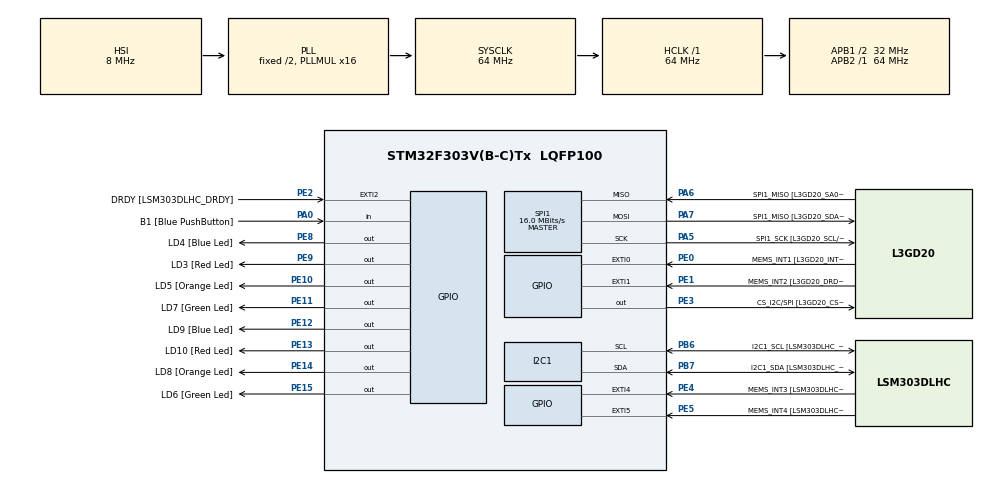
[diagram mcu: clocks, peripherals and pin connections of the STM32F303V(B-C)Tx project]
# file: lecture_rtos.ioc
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FREERTOS.Tasks01=defaultTask,0,128,StartDefaultTask,Default,NULL
FREERTOS.configTOTAL_HEAP_SIZE=15360
FREERTOS.configUSE_PREEMPTION=1
I2C1.Timing-I2C=0x2000090E
Mcu.Family=STM32F3
Mcu.Name=STM32F303V(B-C)Tx
Mcu.Package=LQFP100
NVIC.PriorityGroup=NVIC_PRIORITYGROUP_4
NVIC.TIM1_TRG_COM_TIM17_IRQn=true\:0\:0\:false\:false\:true\:false\:false
NVIC.TimeBase=TIM1_TRG_COM_TIM17_IRQn
NVIC.TimeBaseIP=TIM17
PA0.GPIO_Label=B1 [Blue PushButton]
PA0.Signal=GPIO_Input
PA11.GPIO_Label=DM
PA11.Signal=USB_DM
PA12.GPIO_Label=DP
PA12.Signal=USB_DP
PA13.GPIO_Label=SWDIO
PA13.Mode=Serial_Wire
PA13.Signal=SYS_JTMS-SWDIO
PA14.GPIO_Label=SWCLK
PA14.Mode=Serial_Wire
PA14.Signal=SYS_JTCK-SWCLK
PA5.GPIO_Label=SPI1_SCK [L3GD20_SCL/SPC]
PA5.Mode=Full_Duplex_Master
PA5.Signal=SPI1_SCK
PA6.GPIO_Label=SPI1_MISO [L3GD20_SA0/SDO]
PA6.Mode=Full_Duplex_Master
PA6.Signal=SPI1_MISO
PA7.GPIO_Label=SPI1_MISO [L3GD20_SDA/SDI/SDO]
PA7.Mode=Full_Duplex_Master
PA7.Signal=SPI1_MOSI
PB3.GPIO_Label=SWO
PB3.Signal=SYS_JTDO-TRACESWO
PB6.GPIO_Label=I2C1_SCL [LSM303DLHC_SCL]
PB6.Mode=I2C
PB6.Signal=I2C1_SCL
PB7.GPIO_Label=I2C1_SDA [LSM303DLHC_SDA]
PB7.Mode=I2C
PB7.Signal=I2C1_SDA
PC14-OSC32_IN.GPIO_Label=OSC32_IN
PC14-OSC32_IN.Signal=RCC_OSC32_IN
PC15-OSC32_OUT.GPIO_Label=OSC32_OUT
PC15-OSC32_OUT.Signal=RCC_OSC32_OUT
PE0.GPIO_Label=MEMS_INT1 [L3GD20_INT1]
PE0.GPIO_ModeDefaultEXTI=GPIO_MODE_EVT_RISING
PE0.Signal=GPXTI0
PE1.GPIO_Label=MEMS_INT2 [L3GD20_DRDY/INT2]
PE1.GPIO_ModeDefaultEXTI=GPIO_MODE_EVT_RISING
PE1.Signal=GPXTI1
PE10.GPIO_Label=LD5 [Orange Led]
PE10.Signal=GPIO_Output
PE11.GPIO_Label=LD7 [Green Led]
PE11.Signal=GPIO_Output
PE12.GPIO_Label=LD9 [Blue Led]
PE12.Signal=GPIO_Output
PE13.GPIO_Label=LD10 [Red Led]
PE13.Signal=GPIO_Output
PE14.GPIO_Label=LD8 [Orange Led]
PE14.Signal=GPIO_Output
PE15.GPIO_Label=LD6 [Green Led]
PE15.Signal=GPIO_Output
PE2.GPIO_Label=DRDY [LSM303DLHC_DRDY]
PE2.GPIO_ModeDefaultEXTI=GPIO_MODE_EVT_RISING
PE2.Signal=GPXTI2
PE3.GPIO_Label=CS_I2C/SPI [L3GD20_CS_I2C/SPI]
PE3.Signal=GPIO_Output
PE4.GPIO_Label=MEMS_INT3 [LSM303DLHC_INT1]
PE4.GPIO_ModeDefaultEXTI=GPIO_MODE_EVT_RISING
PE4.Signal=GPXTI4
PE5.GPIO_Label=MEMS_INT4 [LSM303DLHC_INT2]
PE5.GPIO_ModeDefaultEXTI=GPIO_MODE_EVT_RISING
PE5.Signal=GPXTI5
PE8.GPIO_Label=LD4 [Blue Led]
PE8.Signal=GPIO_Output
PE9.GPIO_Label=LD3 [Red Led]
PE9.Signal=GPIO_Output
PF0-OSC_IN.GPIO_Label=OSC_IN
PF0-OSC_IN.Signal=RCC_OSC_IN
PF1-OSC_OUT.GPIO_Label=OSC_OUT
PF1-OSC_OUT.Signal=RCC_OSC_OUT
ProjectManager.HeapSize=0x200
ProjectManager.StackSize=0x400
ProjectManager.TargetToolchain=MDK-ARM V5
RCC.AHBFreq_Value=64000000
RCC.APB1CLKDivider=RCC_HCLK_DIV2
RCC.APB1Freq_Value=32000000
RCC.APB1TimFreq_Value=64000000
RCC.APB2Freq_Value=64000000
RCC.APB2TimFreq_Value=64000000
RCC.CortexFreq_Value=64000000
RCC.HCLKFreq_Value=64000000
RCC.HSE_VALUE=8000000
RCC.HSI_VALUE=8000000
RCC.LSE_VALUE=32768
RCC.PLLMUL=RCC_PLL_MUL16
RCC.SYSCLKFreq_VALUE=64000000
RCC.SYSCLKSourceVirtual=RCC_SYSCLKSOURCE_PLLCLK
RCC.USBFreq_Value=64000000
SPI1.BaudRatePrescaler=SPI_BAUDRATEPRESCALER_4
SPI1.BaudRatePrescaler-Full_Duplex_Master=SPI_BAUDRATEPRESCALER_2
SPI1.CalculateBaudRate=16.0 MBits/s
SPI1.CalculateBaudRate-Full_Duplex_Master=24.0 MBits/s
SPI1.Direction=SPI_DIRECTION_2LINES
SPI1.Mode=SPI_MODE_MASTER
SPI1.Mode-Full_Duplex_Master=SPI_MODE_MASTER
SPI1.VirtualType=VM_MASTER
VP_FREERTOS_VS_ENABLE.Mode=Enabled
VP_SYS_VS_tim17.Mode=TIM17
board=STM32F3DISCOVERY

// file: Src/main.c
/**
  ******************************************************************************
  * @file           : main.c
  * @brief          : Main program body
  ******************************************************************************
  * This notice applies to any and all portions of this file
  * that are not between comment pairs USER CODE BEGIN and
  * USER CODE END. Other portions of this file, whether
  * inserted by the user or by software development tools
  * are owned by their respective copyright owners.
  *
  * Copyright (c) 2018 STMicroelectronics International N.V.
  * All rights reserved.
  *
  * Redistribution and use in source and binary forms, with or without
  * modification, are permitted, provided that the following conditions are met:
  *
  * 1. Redistribution of source code must retain the above copyright notice,
  *    this list of conditions and the following disclaimer.
  * 2. Redistributions in binary form must reproduce the above copyright notice,
  *    this list of conditions and the following disclaimer in the documentation
  *    and/or other materials provided with the distribution.
  * 3. Neither the name of STMicroelectronics nor the names of other
  *    contributors to this software may be used to endorse or promote products
  *    derived from this software without specific written permission.
  * 4. This software, including modifications and/or derivative works of this
  *    software, must execute solely and exclusively on microcontroller or
  *    microprocessor devices manufactured by or for STMicroelectronics.
  * 5. Redistribution and use of this software other than as permitted under
  *    this license is void and will automatically terminate your rights under
  *    this license.
  *
  * THIS SOFTWARE IS PROVIDED BY STMICROELECTRONICS AND CONTRIBUTORS "AS IS"
  * AND ANY EXPRESS, IMPLIED OR STATUTORY WARRANTIES, INCLUDING, BUT NOT
  * LIMITED TO, THE IMPLIED WARRANTIES OF MERCHANTABILITY, FITNESS FOR A
  * PARTICULAR PURPOSE AND NON-INFRINGEMENT OF THIRD PARTY INTELLECTUAL PROPERTY
  * RIGHTS ARE DISCLAIMED TO THE FULLEST EXTENT PERMITTED BY LAW. IN NO EVENT
  * SHALL STMICROELECTRONICS OR CONTRIBUTORS BE LIABLE FOR ANY DIRECT, INDIRECT,
  * INCIDENTAL, SPECIAL, EXEMPLARY, OR CONSEQUENTIAL DAMAGES (INCLUDING, BUT NOT
  * LIMITED TO, PROCUREMENT OF SUBSTITUTE GOODS OR SERVICES; LOSS OF USE, DATA,
  * OR PROFITS; OR BUSINESS INTERRUPTION) HOWEVER CAUSED AND ON ANY THEORY OF
  * LIABILITY, WHETHER IN CONTRACT, STRICT LIABILITY, OR TORT (INCLUDING
  * NEGLIGENCE OR OTHERWISE) ARISING IN ANY WAY OUT OF THE USE OF THIS SOFTWARE,
  * EVEN IF ADVISED OF THE POSSIBILITY OF SUCH DAMAGE.
  *
  ******************************************************************************
  */
#include "main.h"
#include "stm32f3xx_hal.h"
#include "cmsis_os.h"
#include "i2c.h"
#include "spi.h"
#include "gpio.h"

/* USER CODE BEGIN PV */
/* Private variables ---------------------------------------------------------*/

/* USER CODE END PV */

void SystemClock_Config(void);
void MX_FREERTOS_Init(void);

/* USER CODE BEGIN PFP */
/* Private function prototypes -----------------------------------------------*/

/* USER CODE END PFP */

int main(void)
{

  /* MCU Configuration----------------------------------------------------------*/

  /* Reset of all peripherals, Initializes the Flash interface and the Systick. */
  HAL_Init();

  /* Configure the system clock */
  SystemClock_Config();

  /* Initialize all configured peripherals */
  MX_GPIO_Init();
  MX_I2C1_Init();
  MX_SPI1_Init();
  /* USER CODE BEGIN 2 */
	all_leds_off();

  /* USER CODE END 2 */

  /* Call init function for freertos objects (in freertos.c) */
  MX_FREERTOS_Init();

  /* Start scheduler */
  osKernelStart();

  /* We should never get here as control is now taken by the scheduler */

  /* Infinite loop */
  while (1)
  {

  }

}

void SystemClock_Config(void)
{

  RCC_OscInitTypeDef RCC_OscInitStruct;
  RCC_ClkInitTypeDef RCC_ClkInitStruct;
  RCC_PeriphCLKInitTypeDef PeriphClkInit;

    /**Initializes the CPU, AHB and APB busses clocks
    */
  RCC_OscInitStruct.OscillatorType = RCC_OSCILLATORTYPE_HSI;
  RCC_OscInitStruct.HSIState = RCC_HSI_ON;
  RCC_OscInitStruct.HSICalibrationValue = 16;
  RCC_OscInitStruct.PLL.PLLState = RCC_PLL_ON;
  RCC_OscInitStruct.PLL.PLLSource = RCC_PLLSOURCE_HSI;
  RCC_OscInitStruct.PLL.PLLMUL = RCC_PLL_MUL16;
  if (HAL_RCC_OscConfig(&RCC_OscInitStruct) != HAL_OK)
  {
    _Error_Handler(__FILE__, __LINE__);
  }

    /**Initializes the CPU, AHB and APB busses clocks
    */
  RCC_ClkInitStruct.ClockType = RCC_CLOCKTYPE_HCLK|RCC_CLOCKTYPE_SYSCLK
                              |RCC_CLOCKTYPE_PCLK1|RCC_CLOCKTYPE_PCLK2;
  RCC_ClkInitStruct.SYSCLKSource = RCC_SYSCLKSOURCE_PLLCLK;
  RCC_ClkInitStruct.AHBCLKDivider = RCC_SYSCLK_DIV1;
  RCC_ClkInitStruct.APB1CLKDivider = RCC_HCLK_DIV2;
  RCC_ClkInitStruct.APB2CLKDivider = RCC_HCLK_DIV1;

  if (HAL_RCC_ClockConfig(&RCC_ClkInitStruct, FLASH_LATENCY_2) != HAL_OK)
  {
    _Error_Handler(__FILE__, __LINE__);
  }

  PeriphClkInit.PeriphClockSelection = RCC_PERIPHCLK_I2C1;
  PeriphClkInit.I2c1ClockSelection = RCC_I2C1CLKSOURCE_HSI;
  if (HAL_RCCEx_PeriphCLKConfig(&PeriphClkInit) != HAL_OK)
  {
    _Error_Handler(__FILE__, __LINE__);
  }

    /**Configure the Systick interrupt time
    */
  HAL_SYSTICK_Config(HAL_RCC_GetHCLKFreq()/1000);

    /**Configure the Systick
    */
  HAL_SYSTICK_CLKSourceConfig(SYSTICK_CLKSOURCE_HCLK);

  /* SysTick_IRQn interrupt configuration */
  HAL_NVIC_SetPriority(SysTick_IRQn, 15, 0);
}

void HAL_TIM_PeriodElapsedCallback(TIM_HandleTypeDef *htim)
{
  if (htim->Instance == TIM17) {
    HAL_IncTick();
  }
}

void _Error_Handler(char *file, int line)
{
  while(1)
  {
  }
}

/************************ (C) COPYRIGHT STMicroelectronics *****END OF FILE****/

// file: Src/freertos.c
/* USER CODE BEGIN Header */
/**
  ******************************************************************************
  * File Name          : freertos.c
  * Description        : Code for freertos applications
  ******************************************************************************
  * This notice applies to any and all portions of this file
  * that are not between comment pairs USER CODE BEGIN and
  * USER CODE END. Other portions of this file, whether
  * inserted by the user or by software development tools
  * are owned by their respective copyright owners.
  *
  * Copyright (c) 2018 STMicroelectronics International N.V.
  * All rights reserved.
  *
  * Redistribution and use in source and binary forms, with or without
  * modification, are permitted, provided that the following conditions are met:
  *
  * 1. Redistribution of source code must retain the above copyright notice,
  *    this list of conditions and the following disclaimer.
  * 2. Redistributions in binary form must reproduce the above copyright notice,
  *    this list of conditions and the following disclaimer in the documentation
  *    and/or other materials provided with the distribution.
  * 3. Neither the name of STMicroelectronics nor the names of other
  *    contributors to this software may be used to endorse or promote products
  *    derived from this software without specific written permission.
  * 4. This software, including modifications and/or derivative works of this
  *    software, must execute solely and exclusively on microcontroller or
  *    microprocessor devices manufactured by or for STMicroelectronics.
  * 5. Redistribution and use of this software other than as permitted under
  *    this license is void and will automatically terminate your rights under
  *    this license.
  *
  * THIS SOFTWARE IS PROVIDED BY STMICROELECTRONICS AND CONTRIBUTORS "AS IS"
  * AND ANY EXPRESS, IMPLIED OR STATUTORY WARRANTIES, INCLUDING, BUT NOT
  * LIMITED TO, THE IMPLIED WARRANTIES OF MERCHANTABILITY, FITNESS FOR A
  * PARTICULAR PURPOSE AND NON-INFRINGEMENT OF THIRD PARTY INTELLECTUAL PROPERTY
  * RIGHTS ARE DISCLAIMED TO THE FULLEST EXTENT PERMITTED BY LAW. IN NO EVENT
  * SHALL STMICROELECTRONICS OR CONTRIBUTORS BE LIABLE FOR ANY DIRECT, INDIRECT,
  * INCIDENTAL, SPECIAL, EXEMPLARY, OR CONSEQUENTIAL DAMAGES (INCLUDING, BUT NOT
  * LIMITED TO, PROCUREMENT OF SUBSTITUTE GOODS OR SERVICES; LOSS OF USE, DATA,
  * OR PROFITS; OR BUSINESS INTERRUPTION) HOWEVER CAUSED AND ON ANY THEORY OF
  * LIABILITY, WHETHER IN CONTRACT, STRICT LIABILITY, OR TORT (INCLUDING
  * NEGLIGENCE OR OTHERWISE) ARISING IN ANY WAY OUT OF THE USE OF THIS SOFTWARE,
  * EVEN IF ADVISED OF THE POSSIBILITY OF SUCH DAMAGE.
  *
  ******************************************************************************
  */
/* USER CODE END Header */

#include "FreeRTOS.h"
#include "task.h"
#include "main.h"
#include "cmsis_os.h"

/* USER CODE BEGIN Includes */
#include "gpio.h"

/* USER CODE END Includes */

/* USER CODE BEGIN Variables */
osThreadId tempTaskHandle;

/* USER CODE END Variables */
osThreadId defaultTaskHandle;

/* USER CODE BEGIN FunctionPrototypes */
void greenLED1Task(void const * argument);
void greenLED2Task(void const * argument);
void blueLED1Task(void const * argument);
void blueLED2Task(void const * argument);
void redLED1Task(void const * argument);
void redLED2Task(void const * argument);
void orangeLED1Task(void const * argument);
void orangeLED2Task(void const * argument);

/* USER CODE END FunctionPrototypes */

void StartDefaultTask(void const * argument);

void MX_FREERTOS_Init(void); /* (MISRA C 2004 rule 8.1) */

void MX_FREERTOS_Init(void) {

  /* Create the thread(s) */
  /* definition and creation of defaultTask */
  osThreadDef(defaultTask, StartDefaultTask, osPriorityNormal, 0, 128);
  defaultTaskHandle = osThreadCreate(osThread(defaultTask), NULL);

  /* USER CODE BEGIN RTOS_THREADS */
  /* add threads, ... */
	osThreadDef(greenLED1, greenLED1Task, osPriorityNormal, 0, 128);
	tempTaskHandle = osThreadCreate(osThread(greenLED1), NULL);

	osThreadDef(greenLED2, greenLED2Task, osPriorityNormal, 0, 128);
	tempTaskHandle = osThreadCreate(osThread(greenLED2), NULL);

	osThreadDef(blueLED1, blueLED1Task, osPriorityNormal, 0, 128);
	tempTaskHandle = osThreadCreate(osThread(blueLED1), NULL);

	osThreadDef(blueLED2, blueLED2Task, osPriorityNormal, 0, 128);
	tempTaskHandle = osThreadCreate(osThread(blueLED2), NULL);

	osThreadDef(redLED1, redLED1Task, osPriorityNormal, 0, 128);
	tempTaskHandle = osThreadCreate(osThread(redLED1), NULL);

	osThreadDef(redLED2, redLED2Task, osPriorityNormal, 0, 128);
	tempTaskHandle = osThreadCreate(osThread(redLED2), NULL);

	osThreadDef(orangeLED1, orangeLED1Task, osPriorityNormal, 0, 128);
	tempTaskHandle = osThreadCreate(osThread(orangeLED1), NULL);

	osThreadDef(orangeLED2, orangeLED2Task, osPriorityNormal, 0, 128);
	tempTaskHandle = osThreadCreate(osThread(orangeLED2), NULL);

  /* USER CODE END RTOS_THREADS */

}

void StartDefaultTask(void const * argument)
{

  /* USER CODE BEGIN StartDefaultTask */
  /* Infinite loop */
  for(;;)
  {
    osDelay(1000u);
  }
  /* USER CODE END StartDefaultTask */
}

/* USER CODE BEGIN Application */

void greenLED1Task(void const * argument)
{
	for(;;)
	{
		LED_ON(GREEN1_LED);
		HAL_Delay(500u);
		osThreadYield();
		LED_OFF(GREEN1_LED);
		HAL_Delay(500u);
	}
}

void greenLED2Task(void const * argument)
{
	for(;;)
	{
		LED_ON(GREEN2_LED);
		HAL_Delay(200u);
		osThreadYield();
		LED_OFF(GREEN2_LED);
		HAL_Delay(200u);
	}
}

void blueLED1Task(void const * argument)
{
	for(;;)
	{
		LED_ON(BLUE1_LED);
		HAL_Delay(800u);
		LED_OFF(BLUE1_LED);
		HAL_Delay(300u);
	}
}

void blueLED2Task(void const * argument)
{
	for(;;)
	{
		LED_ON(BLUE2_LED);
		HAL_Delay(600u);
		LED_OFF(BLUE2_LED);
		HAL_Delay(300u);
	}
}

void redLED1Task(void const * argument)
{
	for(;;)
	{
		LED_ON(RED1_LED);
		HAL_Delay(800u);
		LED_OFF(RED1_LED);
		HAL_Delay(200u);
	}
}

void redLED2Task(void const * argument)
{
	for(;;)
	{
		LED_ON(RED2_LED);
		HAL_Delay(200u);
		LED_OFF(RED2_LED);
		HAL_Delay(800u);
	}
}

void orangeLED1Task(void const * argument)
{
	for(;;)
	{
		LED_ON(ORANGE1_LED);
		HAL_Delay(1500u);
		LED_OFF(ORANGE1_LED);
		HAL_Delay(1000u);
	}
}

void orangeLED2Task(void const * argument)
{
	for(;;)
	{
		LED_ON(ORANGE2_LED);
		HAL_Delay(500u);
		LED_OFF(ORANGE2_LED);
		HAL_Delay(3500u);
	}
}

/* USER CODE END Application */

/************************ (C) COPYRIGHT STMicroelectronics *****END OF FILE****/
